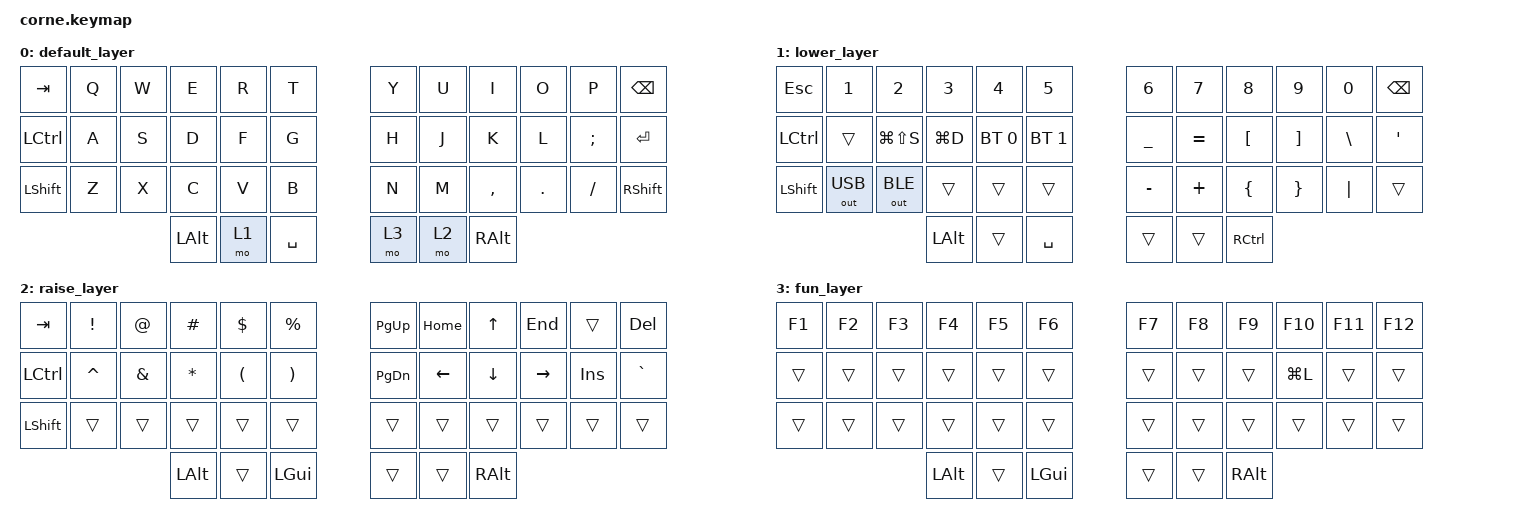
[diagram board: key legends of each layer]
/*
 * Copyright (c) 2020 The ZMK Contributors
 *
 * SPDX-License-Identifier: MIT
 */

#include <behaviors.dtsi>
#include <dt-bindings/zmk/keys.h>
#include <dt-bindings/zmk/bt.h>
#include <dt-bindings/zmk/outputs.h>

/ {
        keymap {
                compatible = "zmk,keymap";

                default_layer {
// -----------------------------------------------------------------------------------------
// |  TAB |  Q  |  W  |  E  |  R  |  T  |   |  Y  |  U   |  I  |  O  |  P  | BKSP |
// | CTRL |  A  |  S  |  D  |  F  |  G  |   |  H  |  J   |  K  |  L  |  ;  | ENT  |
// | SHFT |  Z  |  X  |  C  |  V  |  B  |   |  N  |  M   |  ,  |  .  |  /  | SHFT |
//                    | ALT | LWR | SPC |   | FUN | RSE  | ALT |
                        bindings = <
   &kp TAB   &kp Q &kp W &kp E &kp R &kp T   &kp Y &kp U  &kp I     &kp O   &kp P    &kp BSPC
   &kp LCTRL &kp A &kp S &kp D &kp F &kp G   &kp H &kp J  &kp K     &kp L   &kp SEMI &kp RET
   &kp LSHFT &kp Z &kp X &kp C &kp V &kp B   &kp N &kp M  &kp COMMA &kp DOT &kp FSLH &kp RSHFT
                  &kp LALT &mo 1 &kp SPACE   &mo 3 &mo 2 &kp RALT
                        >;
                };
                lower_layer {
// -----------------------------------------------------------------------------------------
// |  ESC |  1  |  2        |  3    |  4  |  5  |   |  6  |  7  |  8   |  9  |  0  | BKSP |
// | CTRL |     | LG(LS(S)) | LG(D) | BT0 | BT1 |   |  _  |  =  |  [   |  ]  |  \  |  '   |
// | SHFT | USB | BLE       |       |     |     |   |  -  |  +  |  {   |  }  | "|" |      |
//                    | ALT   |     | SPC |     |     |     | CTRL |
                        bindings = <
   &kp ESC     &kp N1 &kp N2        &kp N3    &kp N4       &kp N5         &kp N6    &kp N7    &kp N8   &kp N9    &kp N0   &kp BSPC
   &kp LCTRL   &trans &kp LG(LS(S)) &kp LG(D) &bt BT_SEL 0 &bt BT_SEL 1   &kp UNDER &kp EQUAL &kp LBKT &kp RBKT  &kp BSLH &kp SQT
   &kp LSHFT   &out OUT_USB &out OUT_BLE &trans    &trans &trans          &kp MINUS &kp PLUS  &kp LBRC &kp RBRC  &kp PIPE &trans 
                                         &kp LALT  &trans &kp SPACE      &trans    &trans    &kp RCTRL
                        >;
                };
                raise_layer {
// -----------------------------------------------------------------------------------------
// |  TAB |  !  |  @  |  #  |  $  |  %  |   | PG_UP | HOME |  UP | END |     | DEL |
// | CTRL |  ^  |  &  |  *  |  (  |  )  |   | PG_DN | LFT  | DWN | RGT | INS |  `  |
// | SHFT |     |     |     |     |     |   |       |      |     |     |     |     |
//                    | ALT |     | GUI |   |       |      | ALT |
                        bindings = <
   &kp  TAB  &kp EXCL  &kp AT   &kp HASH  &kp DLLR &kp PRCNT   &kp PG_UP &kp HOME &kp UP    &kp END    &trans   &kp DEL
   &kp LCTRL &kp CARET &kp AMPS &kp ASTRK &kp LPAR &kp RPAR    &kp PG_DN &kp LEFT &kp DOWN  &kp RIGHT  &kp INS  &kp GRAVE
   &kp LSHFT &trans    &trans   &trans    &trans   &trans      &trans    &trans   &trans    &trans     &trans   &trans
                                &kp LALT  &trans   &kp LGUI    &trans &trans   &kp RALT
                        >;
                };
                fun_layer {
// -----------------------------------------------------------------------------------------
// |  F1  | F2  | F3  | F4  | F5  | F6  |   | F7  | F8  | F9  |  F10  | F11 | F12 |
// | CTRL |     |     |     |     |     |   |     |     |     | LG(L) |     |     |
// | SHFT |     |     |     |     |     |   |     |     |     |       |     |     |
//                    | ALT |     | GUI |   |     |     | ALT |
                        bindings = <
   &kp F1 &kp F2 &kp F3 &kp F4 &kp F5 &kp F6    &kp F7 &kp F8 &kp F9 &kp F10   &kp F11 &kp F12
   &trans &trans &trans &trans &trans &trans    &trans &trans &trans &kp LG(L) &trans  &trans
   &trans &trans &trans &trans &trans &trans    &trans &trans &trans &trans    &trans  &trans
                &kp LALT &trans &kp LGUI        &trans &trans &kp RALT
                        >;
                };
        };
};
